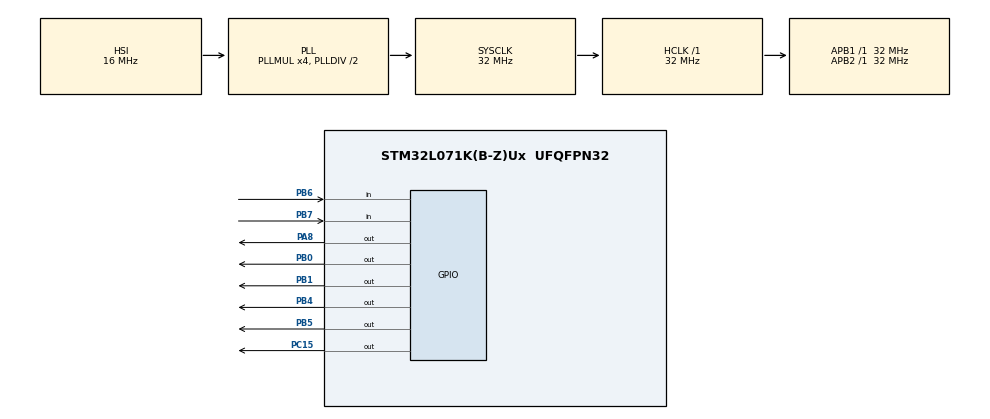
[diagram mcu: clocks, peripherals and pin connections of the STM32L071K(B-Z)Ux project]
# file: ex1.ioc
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Mcu.Family=STM32L0
Mcu.Name=STM32L071K(B-Z)Ux
Mcu.Package=UFQFPN32
PA13.Mode=Serial_Wire
PA13.Signal=SYS_SWDIO
PA14.Mode=Serial_Wire
PA14.Signal=SYS_SWCLK
PA8.Signal=GPIO_Output
PB0.Signal=GPIO_Output
PB1.Signal=GPIO_Output
PB4.Signal=GPIO_Output
PB5.Signal=GPIO_Output
PB6.Signal=GPIO_Input
PB7.Signal=GPIO_Input
PC15-OSC32_OUT.Signal=GPIO_Output
ProjectManager.HeapSize=0x200
ProjectManager.StackSize=0x400
ProjectManager.TargetToolchain=MDK-ARM V5
RCC.AHBFreq_Value=32000000
RCC.APB1Freq_Value=32000000
RCC.APB1TimFreq_Value=32000000
RCC.APB2Freq_Value=32000000
RCC.APB2TimFreq_Value=32000000
RCC.HCLKFreq_Value=32000000
RCC.HSI16_VALUE=16000000
RCC.HSI_VALUE=16000000
RCC.LSE_VALUE=32768
RCC.MSI_VALUE=2097000
RCC.PLLMUL=RCC_PLLMUL_4
RCC.SYSCLKFreq_VALUE=32000000
RCC.SYSCLKSource=RCC_SYSCLKSOURCE_PLLCLK
RCC.VCOOutputFreq_Value=64000000
RTC.Format=RTC_FORMAT_BIN
RTC.SynchPrediv=307
VP_RTC_VS_RTC_Activate.Mode=RTC_Enabled
VP_RTC_VS_RTC_Calendar.Mode=RTC_Calendar
board=custom

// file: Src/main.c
/* USER CODE BEGIN Header */
/**
  ******************************************************************************
  * @file           : main.c
  * @brief          : Main program body
  ******************************************************************************
  * @attention
  *
  * <h2><center>&copy; Copyright (c) 2019 STMicroelectronics.
  * All rights reserved.</center></h2>
  *
  * This software component is licensed by ST under BSD 3-Clause license,
  * the "License"; You may not use this file except in compliance with the
  * License. You may obtain a copy of the License at:
  *                        opensource.org/licenses/BSD-3-Clause
  *
  ******************************************************************************
  */
/* USER CODE END Header */

#include "main.h"
#include "rtc.h"
#include "gpio.h"
#include "key.h"
#include "stm32l0xx_hal.h"
#include "zm4xx_gpio.h"
#include "spi.h"
#include "timer.h"
#include "stddef.h"
#include "sx127x_lora.h"

/* USER CODE BEGIN Includes */
#define FREQ  (433000000)
void SystemClock_Config(void);
void Hardware_Init(void);
radio_handle_t  handle;
/* USER CODE END Includes */

/* USER CODE BEGIN PTD */
char lcdLine_1st_line[16];
char lcdLine_2st_line[16];
int ret = RADIO_RET_OK;
unsigned int sock=0;
unsigned int h,m,s,count1=0;

    uint16_t len = 0;
		uint8_t rx = 0;
		uint8_t tx = 0x55;
		uint8_t cntr = 0;
/* USER CODE END PTD */

/* USER CODE BEGIN PV */
void Task_BrdInit(void)
{
    HAL_GPIO_WritePin(GPIOC, GPIO_PIN_15, GPIO_PIN_SET);

    OLED_PowerControl(ENABLE);

    HAL_Delay(200);
    OLED_Init();
    OLED_Clear();

    OLED_ShowString(0, 0, (unsigned char *)"                ", 16);
    OLED_ShowString(0, 2, (unsigned char *)"                ", 16);
}
void LoRa_Init(void)
{

	handle = radio_zm4xx_inst_init(spi_recv_byte,spi_send_byte,zm4xx_rst_pin_set,zm4xx_sel_pin_set,delay_ms,delay_us);

	if(handle != NULL){
		if(RADIO_RET_OK == radio_freq_set(handle, FREQ)){
				HAL_GPIO_WritePin(GPIOC, GPIO_PIN_15,GPIO_PIN_RESET);
		}

		radio_mode_set(handle, RX_MODE);	//Receive Mode
	}
}
/* USER CODE END PV */

void SystemClock_Config(void);

int main(void)
{

  /* MCU Configuration--------------------------------------------------------*/

  /* Reset of all peripherals, Initializes the Flash interface and the Systick. */
  HAL_Init();

  /* Configure the system clock */
  SystemClock_Config();

  /* Initialize all configured peripherals */
  MX_GPIO_Init();
  MX_RTC_Init();
  /* USER CODE BEGIN 2 */
	void set_time(void);
    Task_BrdInit();
		zm4xx_pin_init(); //LORA��Ҫ
    spi_init();//LORA��Ҫ
		LoRa_Init();
  /* USER CODE END 2 */

  /* Infinite loop */
    while (1)
    {

    /* USER CODE BEGIN 3 */

			if(key2()==11)
			{
				sock++;
				if(sock==2)
				{
					sock=0;
					OLED_Clear();
					sTime.Hours=h;
					sTime.Minutes=m;
					sTime.Seconds=s;
					HAL_RTC_SetTime(&hrtc, &sTime, RTC_FORMAT_BIN);
				}
			}
			if(sock==0)
			{
				HAL_RTC_GetTime(&hrtc, &sTime, RTC_FORMAT_BIN);
				HAL_RTC_GetDate(&hrtc, &sDate, RTC_FORMAT_BIN);
				sprintf(lcdLine_1st_line, "RTC");
				sprintf(lcdLine_2st_line, "%2d-%2d-%2d     ",sTime.Hours,sTime.Minutes,sTime.Seconds);
				OLED_ShowString(48, 0, (unsigned char *)lcdLine_1st_line, 16);
				OLED_ShowString(32, 2, (unsigned char *)lcdLine_2st_line, 16);
				if(key2()==22)
				{
					HAL_GPIO_TogglePin(GPIOC, GPIO_PIN_15);
					radio_buf_send(handle, (unsigned char *)lcdLine_2st_line, sizeof(lcdLine_2st_line));
				}
//				HAL_GPIO_WritePin(GPIOC, GPIO_PIN_15, GPIO_PIN_RESET);
//				HAL_Delay(1000);
//				HAL_GPIO_WritePin(GPIOC, GPIO_PIN_15, GPIO_PIN_SET);
//				HAL_Delay(1000);
			}
			if(sock==1)
			{
				set_time();
				sprintf(lcdLine_1st_line, "SET");
				sprintf(lcdLine_2st_line, "%2d-%2d-%2d		%d",h,m,s,count1+1);
				OLED_ShowString(48, 0, (unsigned char *)lcdLine_1st_line, 16);
				OLED_ShowString(32, 2, (unsigned char *)lcdLine_2st_line, 16);
				HAL_GPIO_WritePin(GPIOC, GPIO_PIN_15, GPIO_PIN_SET);
			}
		}
  /* USER CODE END 3 */
}

void set_time()
{
	unsigned int key;

	key=key2();
		if(key==12)
		{
			count1++;
			if(count1==3)	count1=0;
		}
		if(key==21)
		{
			switch(count1)
			{
				case 0:h++;if(h==23)	h=0;break;
				case 1:m++;if(m==59)  m=0;break;
				case 2:s++;if(s==59)  s=0;break;
			}
		}
		if(key==22)
		{
			HAL_GPIO_TogglePin(GPIOC, GPIO_PIN_15);
			sprintf(lcdLine_2st_line, "%d-%d-%d",h,m,s);
			radio_buf_send(handle, (unsigned char *)lcdLine_2st_line, sizeof(lcdLine_2st_line));
		}
}

void SystemClock_Config(void)
{
  RCC_OscInitTypeDef RCC_OscInitStruct = {0};
  RCC_ClkInitTypeDef RCC_ClkInitStruct = {0};
  RCC_PeriphCLKInitTypeDef PeriphClkInit = {0};

  /** Configure the main internal regulator output voltage
  */
  __HAL_PWR_VOLTAGESCALING_CONFIG(PWR_REGULATOR_VOLTAGE_SCALE1);
  /** Initializes the CPU, AHB and APB busses clocks
  */
  RCC_OscInitStruct.OscillatorType = RCC_OSCILLATORTYPE_HSI|RCC_OSCILLATORTYPE_LSI;
  RCC_OscInitStruct.HSIState = RCC_HSI_ON;
  RCC_OscInitStruct.HSICalibrationValue = RCC_HSICALIBRATION_DEFAULT;
  RCC_OscInitStruct.LSIState = RCC_LSI_ON;
  RCC_OscInitStruct.PLL.PLLState = RCC_PLL_ON;
  RCC_OscInitStruct.PLL.PLLSource = RCC_PLLSOURCE_HSI;
  RCC_OscInitStruct.PLL.PLLMUL = RCC_PLLMUL_4;
  RCC_OscInitStruct.PLL.PLLDIV = RCC_PLLDIV_2;
  if (HAL_RCC_OscConfig(&RCC_OscInitStruct) != HAL_OK)
  {
    Error_Handler();
  }
  /** Initializes the CPU, AHB and APB busses clocks
  */
  RCC_ClkInitStruct.ClockType = RCC_CLOCKTYPE_HCLK|RCC_CLOCKTYPE_SYSCLK
                              |RCC_CLOCKTYPE_PCLK1|RCC_CLOCKTYPE_PCLK2;
  RCC_ClkInitStruct.SYSCLKSource = RCC_SYSCLKSOURCE_PLLCLK;
  RCC_ClkInitStruct.AHBCLKDivider = RCC_SYSCLK_DIV1;
  RCC_ClkInitStruct.APB1CLKDivider = RCC_HCLK_DIV1;
  RCC_ClkInitStruct.APB2CLKDivider = RCC_HCLK_DIV1;

  if (HAL_RCC_ClockConfig(&RCC_ClkInitStruct, FLASH_LATENCY_1) != HAL_OK)
  {
    Error_Handler();
  }
  PeriphClkInit.PeriphClockSelection = RCC_PERIPHCLK_RTC;
  PeriphClkInit.RTCClockSelection = RCC_RTCCLKSOURCE_LSI;
  if (HAL_RCCEx_PeriphCLKConfig(&PeriphClkInit) != HAL_OK)
  {
    Error_Handler();
  }
}

void Error_Handler(void)
{
}

/************************ (C) COPYRIGHT STMicroelectronics *****END OF FILE****/
